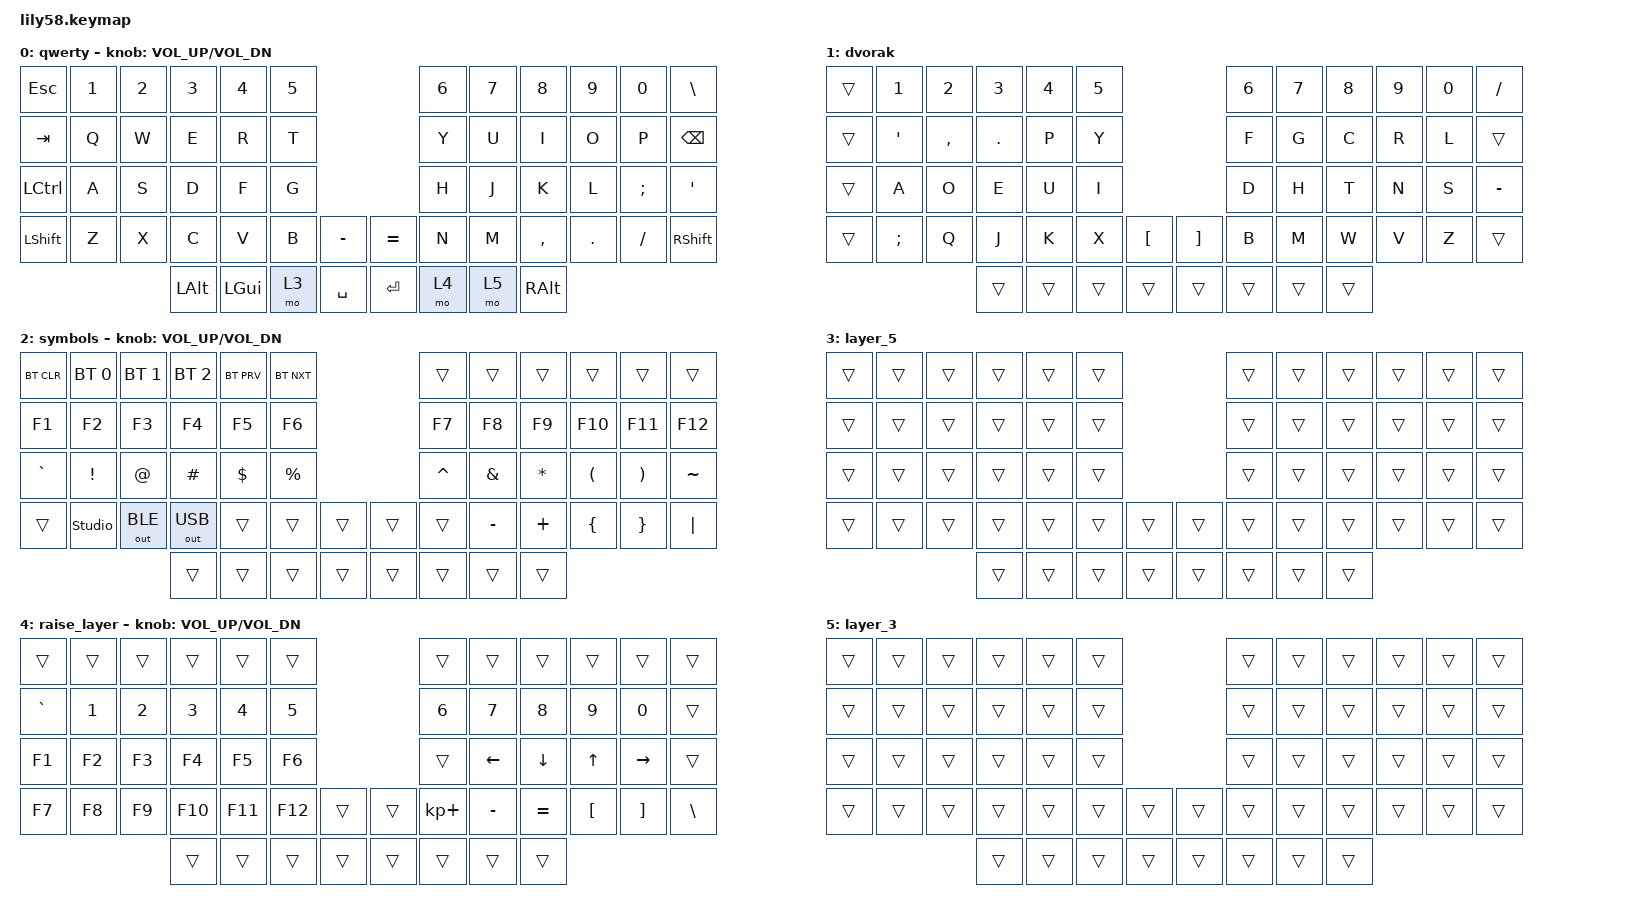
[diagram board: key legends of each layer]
/*
 * Copyright (c) 2020 The ZMK Contributors
 *
 * SPDX-License-Identifier: MIT
 */

#include <behaviors.dtsi>
#include <dt-bindings/zmk/bt.h>
#include <dt-bindings/zmk/keys.h>
#include <dt-bindings/zmk/outputs.h>

/ {
    keymap {
        compatible = "zmk,keymap";

        qwerty {
            // ------------------------------------------------------------------------------------------------------------
            // |  ESC  |  1  |  2  |  3   |  4   |  5   |                   |  6   |  7    |  8    |  9   |   0   |   `   |
            // |  TAB  |  Q  |  W  |  E   |  R   |  T   |                   |  Y   |  U    |  I    |  O   |   P   |   -   |
            // |  CTRL |  A  |  S  |  D   |  F   |  G   |                   |  H   |  J    |  K    |  L   |   ;   |   '   |
            // | SHIFT |  Z  |  X  |  C   |  V   |  B   |   "["  |  |  "]"  |  N   |  M    |  ,    |  .   |   /   | SHIFT |
            //                     | ALT  | GUI  | LOWER|  SPACE |  | ENTER | RAISE| BSPC  | GUI   |

            bindings = <
&kp ESC    &kp N1  &kp N2  &kp N3    &kp N4    &kp N5                          &kp N6  &kp N7  &kp N8     &kp N9   &kp N0    &kp BACKSLASH
&kp TAB    &kp Q   &kp W   &kp E     &kp R     &kp T                           &kp Y   &kp U   &kp I      &kp O    &kp P     &kp BACKSPACE
&kp LCTRL  &kp A   &kp S   &kp D     &kp F     &kp G                           &kp H   &kp J   &kp K      &kp L    &kp SEMI  &kp SQT
&kp LSHFT  &kp Z   &kp X   &kp C     &kp V     &kp B   &kp MINUS    &kp EQUAL  &kp N   &kp M   &kp COMMA  &kp DOT  &kp FSLH  &kp RSHFT
                           &kp LALT  &kp LGUI  &mo 3   &kp SPACE    &kp RET    &mo 4   &mo 5   &kp RALT
            >;

            sensor-bindings = <&inc_dec_kp C_VOL_UP C_VOL_DN>;
        };

        dvorak {
            bindings = <
&trans  &kp N1    &kp N2     &kp N3   &kp N4  &kp N5                                         &kp N6  &kp N7  &kp N8  &kp N9  &kp N0  &kp SLASH
&trans  &kp SQT   &kp COMMA  &kp DOT  &kp P   &kp Y                                          &kp F   &kp G   &kp C   &kp R   &kp L   &trans
&trans  &kp A     &kp O      &kp E    &kp U   &kp I                                          &kp D   &kp H   &kp T   &kp N   &kp S   &kp MINUS
&trans  &kp SEMI  &kp Q      &kp J    &kp K   &kp X   &kp LEFT_BRACKET    &kp RIGHT_BRACKET  &kp B   &kp M   &kp W   &kp V   &kp Z   &trans
                             &trans   &trans  &trans  &trans              &trans             &trans  &trans  &trans
            >;
        };

        symbols {
            // ------------------------------------------------------------------------------------------------------------
            // | BTCLR | BT1 | BT2 |  BT3 |  BT4 |  BT5 |                   |      |       |       |      |       |       |
            // |  F1   |  F2 |  F3 |  F4  |  F5  |  F6  |                   |  F7  |  F8   |  F9   |  F10 |  F11  |  F12  |
            // |   `   |  !  |  @  |  #   |  $   |  %   |                   |  ^   |  &    |  *    |  (   |   )   |   ~   |
            // |       |     |     |      |      |      |        |  |       |      |  _    |  +    |  {   |   }   |  "|"  |
            //                     |      |      |      |        |  |       |      |       |       |

            bindings = <
&bt BT_CLR  &bt BT_SEL 0    &bt BT_SEL 1  &bt BT_SEL 2  &bt BT_PRV  &bt BT_NXT                    &trans     &trans     &trans     &trans    &trans    &trans
&kp F1      &kp F2          &kp F3        &kp F4        &kp F5      &kp F6                        &kp F7     &kp F8     &kp F9     &kp F10   &kp F11   &kp F12
&kp GRAVE   &kp EXCL        &kp AT        &kp HASH      &kp DOLLAR  &kp PRCNT                     &kp CARET  &kp AMPS   &kp ASTRK  &kp LPAR  &kp RPAR  &kp TILDE
&trans      &studio_unlock  &out OUT_BLE  &out OUT_USB  &trans      &trans      &trans    &trans  &trans     &kp MINUS  &kp PLUS   &kp LBRC  &kp RBRC  &kp PIPE
                                          &trans        &trans      &trans      &trans    &trans  &trans     &trans     &trans
            >;

            sensor-bindings = <&inc_dec_kp C_VOL_UP C_VOL_DN>;
        };

        layer_5 {
            bindings = <
&trans  &trans  &trans  &trans  &trans  &trans                    &trans  &trans  &trans  &trans  &trans  &trans
&trans  &trans  &trans  &trans  &trans  &trans                    &trans  &trans  &trans  &trans  &trans  &trans
&trans  &trans  &trans  &trans  &trans  &trans                    &trans  &trans  &trans  &trans  &trans  &trans
&trans  &trans  &trans  &trans  &trans  &trans  &trans    &trans  &trans  &trans  &trans  &trans  &trans  &trans
                        &trans  &trans  &trans  &trans    &trans  &trans  &trans  &trans
            >;
        };

        raise_layer {
            // ------------------------------------------------------------------------------------------------------------
            // |       |     |     |      |      |      |                   |      |       |       |      |       |       |
            // |   `   |  1  |  2  |  3   |  4   |  5   |                   |  6   |   7   |   8   |  9   |   0   |       |
            // |   F1  |  F2 |  F3 |  F4  |  F5  |  F6  |                   |      |   <-  |   v   |  ^   |  ->   |       |
            // |   F7  |  F8 |  F9 |  F10 |  F11 |  F12 |        |  |       |  +   |   -   |   =   |  [   |   ]   |   \   |
            //                     |      |      |      |        |  |       |      |       |       |

            bindings = <
&trans     &trans  &trans  &trans   &trans   &trans                     &trans       &trans     &trans     &trans    &trans     &trans
&kp GRAVE  &kp N1  &kp N2  &kp N3   &kp N4   &kp N5                     &kp N6       &kp N7     &kp N8     &kp N9    &kp N0     &trans
&kp F1     &kp F2  &kp F3  &kp F4   &kp F5   &kp F6                     &trans       &kp LEFT   &kp DOWN   &kp UP    &kp RIGHT  &trans
&kp F7     &kp F8  &kp F9  &kp F10  &kp F11  &kp F12  &trans    &trans  &kp KP_PLUS  &kp MINUS  &kp EQUAL  &kp LBKT  &kp RBKT   &kp BSLH
                           &trans   &trans   &trans   &trans    &trans  &trans       &trans     &trans
            >;

            sensor-bindings = <&inc_dec_kp C_VOL_UP C_VOL_DN>;
        };

        layer_3 {
            bindings = <
&trans  &trans  &trans  &trans  &trans  &trans                    &trans  &trans  &trans  &trans  &trans  &trans
&trans  &trans  &trans  &trans  &trans  &trans                    &trans  &trans  &trans  &trans  &trans  &trans
&trans  &trans  &trans  &trans  &trans  &trans                    &trans  &trans  &trans  &trans  &trans  &trans
&trans  &trans  &trans  &trans  &trans  &trans  &trans    &trans  &trans  &trans  &trans  &trans  &trans  &trans
                        &trans  &trans  &trans  &trans    &trans  &trans  &trans  &trans
            >;
        };
    };
};
